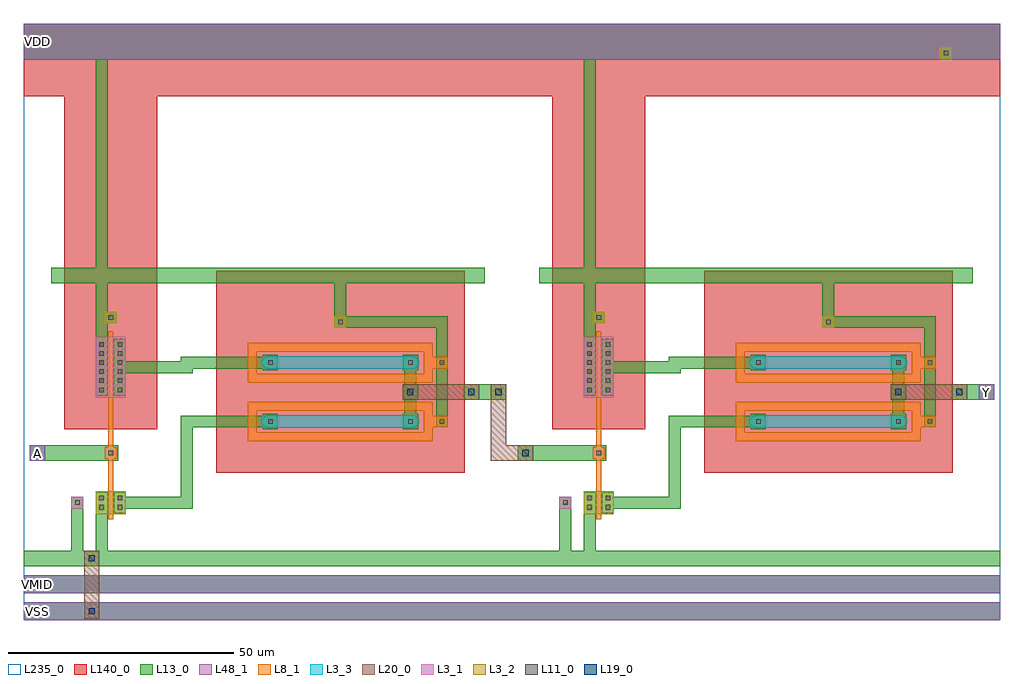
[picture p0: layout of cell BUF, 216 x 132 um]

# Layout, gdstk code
import gdstk
lib = gdstk.Library(unit=1e-6, precision=1e-09)
def R(c, l, rs):  # rectangles x0, y0, x1, y1
    for r in rs: c.add(gdstk.rectangle(r[:2], r[2:], *l))
def A(c, l, x, y, w, h, nx, ny, dx, dy):  # array of equal rectangles
    R(c, l, [(x+i*dx, y+j*dy, x+i*dx+w, y+j*dy+h) for i in range(nx) for j in range(ny)])
def P(c, l, *ps):  # polygons
    for p in ps: c.add(gdstk.Polygon(p, *l))
L3_1 = (3, 1)
L3_2 = (3, 2)
L3_3 = (3, 3)
L8_1 = (8, 1)
L11_0 = (11, 0)
L13_0 = (13, 0)
L19_0 = (19, 0)
L20_0 = (20, 0)
L48_1 = (48, 1)
L140_0 = (140, 0)
L235_0 = (235, 0)

fet_p__buf = lib.new_cell('fet_p__BUF')
R(fet_p__buf, L3_1, [(-3.3,-6.75,3.3,6.75)])
A(fet_p__buf, L11_0, -2.5, -5.5, 1, 1, 1, 6, 0, 2)
A(fet_p__buf, L11_0, 1.5, -5.5, 1, 1, 1, 6, 0, 2)
R(fet_p__buf, L13_0, [(-3.3,-6.3,-0.7,6.3), (0.7,-6.3,3.3,6.3)])
fet_p__buf.add(gdstk.FlexPath([(0,-7.95),(0,7.95)], 1, ends="flush", simple_path=True, layer=8, datatype=1))  # L8_1

fet_n__buf = lib.new_cell('fet_n__BUF')
R(fet_n__buf, L3_2, [(-3.3,-2.5,3.3,2.5)])
R(fet_n__buf, L11_0, [(-2.5,-1.5,-1.5,-0.5), (1.5,-1.5,2.5,-0.5), (-2.5,0.5,-1.5,1.5), (1.5,0.5,2.5,1.5)])
R(fet_n__buf, L13_0, [(-3.3,-2.3,-0.7,2.3), (0.7,-2.3,3.3,2.3)])
fet_n__buf.add(gdstk.FlexPath([(0,-3.7),(0,3.7)], 1, ends="flush", simple_path=True, layer=8, datatype=1))  # L8_1

res_diff__buf = lib.new_cell('res_diff__BUF')
P(res_diff__buf, L3_3, [(-16.5,-1.4),(-17.5,-0.4),(-17.5,0.4),(-16.5,1.4),(16.5,1.4),(17.5,0.4),(17.5,-0.4),(16.5,-1.4)])
P(res_diff__buf, L8_1, [(-20.5,-4.4),(-20.5,2.4),(-18.5,2.4),(-18.5,-2.4),(18.5,-2.4),(18.5,2.4),(-20.5,2.4),(-20.5,4.4),(20.5,4.4),(20.5,-4.4)])
R(res_diff__buf, L11_0, [(-16,-0.5,-15,0.5), (15,-0.5,16,0.5)])
R(res_diff__buf, L13_0, [(-17.2,-1.7,-13.8,1.7), (13.8,-1.7,17.2,1.7)])

cont_n__buf = lib.new_cell('cont_n__BUF')
R(cont_n__buf, L3_2, [(-1.3,-1.3,1.3,1.3)])
R(cont_n__buf, L11_0, [(-0.5,-0.5,0.5,0.5)])
R(cont_n__buf, L13_0, [(-1.3,-1.3,1.3,1.3)])

cont_p__buf = lib.new_cell('cont_p__BUF')
R(cont_p__buf, L3_1, [(-1.3,-1.3,1.3,1.3)])
R(cont_p__buf, L11_0, [(-0.5,-0.5,0.5,0.5)])
R(cont_p__buf, L13_0, [(-1.3,-1.3,1.3,1.3)])

cont_g__buf = lib.new_cell('cont_g__BUF')
R(cont_g__buf, L8_1, [(-1.3,-1.3,1.3,1.3)])
R(cont_g__buf, L11_0, [(-0.5,-0.5,0.5,0.5)])
R(cont_g__buf, L13_0, [(-1.3,-1.3,1.3,1.3)])

via_1__buf = lib.new_cell('via_1__BUF')
R(via_1__buf, L13_0, [(-1.7,-1.7,1.7,1.7)])
R(via_1__buf, L19_0, [(-0.7,-0.7,0.7,0.7)])
R(via_1__buf, L20_0, [(-1.7,-1.7,1.7,1.7)])

buf = lib.new_cell('BUF')
R(buf, L8_1, [(18.7,25.5,19.7,56.5), (126.7,25.5,127.7,56.5), (89.2,42.7,93.8,45.3), (197.2,42.7,201.8,45.3), (89.2,55.7,93.8,58.3), (197.2,55.7,201.8,58.3)])
R(buf, L13_0, [(0,0,216,4), (0,6,216,10), (0,12,216,15.4), (6,12,102,15.4), (114,12,210,15.4), (10.5,12.4,13.1,27.3), (15.9,12.4,18.5,27.3), (118.5,12.4,121.1,27.3), (123.9,12.4,126.5,27.3), (19.9,24.7,37.3,27.3), (34.7,24.7,37.3,45.3), (127.9,24.7,145.3,27.3), (142.7,24.7,145.3,45.3), (1.3,35.3,20.9,38.7), (1.3,35.3,4.7,38.7), (109.3,35.3,128.9,38.7), (6,35.7,19.2,38.3), (114,35.7,127.2,38.3), (34.7,42.7,55.8,45.3), (84.2,42.7,86.8,58.3), (91.2,42.7,93.8,67.3), (142.7,42.7,163.8,45.3), (192.2,42.7,194.8,58.3), (199.2,42.7,201.8,67.3), (97.3,48.8,106.7,52.2), (205.3,48.8,214.7,52.2), (211.3,48.8,214.7,52.2), (15.9,54.7,18.5,77.6), (19.9,54.7,37.3,57.3), (34.7,54.7,37.3,58.3), (123.9,54.7,126.5,77.6), (127.9,54.7,145.3,57.3), (142.7,54.7,145.3,58.3), (34.7,55.7,55.8,58.3), (142.7,55.7,163.8,58.3), (68.7,64.7,71.3,77.6), (68.7,64.7,93.8,67.3), (176.7,64.7,179.3,77.6), (176.7,64.7,201.8,67.3), (15.9,65.7,20.5,68.3), (123.9,65.7,128.5,68.3), (6,74.6,102,78), (114,74.6,210,78), (15.9,75,18.5,129.3), (123.9,75,126.5,129.3), (0,124,216,132), (202.7,124.2,205.3,129.3)])
R(buf, L20_0, [(13.3,0.3,16.7,15.4), (103.3,35.3,106.7,52.2), (103.3,35.3,112.7,38.7), (85.5,48.8,100.7,52.2), (193.5,48.8,208.7,52.2)])
R(buf, L48_1, [(0,0,216,4), (0,6,216,10), (1.3,35.3,4.7,38.7), (211.3,48.8,214.7,52.2), (0,124,216,132)])
R(buf, L140_0, [(42.5,32.6,97.5,77.3), (150.5,32.6,205.5,77.3), (8.9,42.25,29.5,73.3), (8.9,42.25,29.5,132), (116.9,42.25,137.5,73.3), (116.9,42.25,137.5,132), (0,116,216,132)])
R(buf, L235_0, [(0,0,216,132)])
buf.add(gdstk.Reference(fet_p__buf, (19.2,56)))
buf.add(gdstk.Reference(fet_n__buf, (19.2,26)))
buf.add(gdstk.Reference(res_diff__buf, (70,57)))
buf.add(gdstk.Reference(res_diff__buf, (70,44)))
buf.add(gdstk.Reference(cont_n__buf, (19.2,67)))
buf.add(gdstk.Reference(cont_n__buf, (70,66)))
buf.add(gdstk.Reference(cont_p__buf, (11.8,26)))
buf.add(gdstk.Reference(cont_g__buf, (92.5,44)))
buf.add(gdstk.Reference(cont_g__buf, (92.5,57)))
buf.add(gdstk.Reference(cont_g__buf, (19.2,37)))
buf.add(gdstk.Reference(via_1__buf, (85.5,50.5)))
buf.add(gdstk.Reference(via_1__buf, (99,50.5)))
buf.add(gdstk.Reference(fet_p__buf, (127.2,56)))
buf.add(gdstk.Reference(fet_n__buf, (127.2,26)))
buf.add(gdstk.Reference(res_diff__buf, (178,57)))
buf.add(gdstk.Reference(res_diff__buf, (178,44)))
buf.add(gdstk.Reference(cont_n__buf, (127.2,67)))
buf.add(gdstk.Reference(cont_n__buf, (178,66)))
buf.add(gdstk.Reference(cont_p__buf, (119.8,26)))
buf.add(gdstk.Reference(cont_g__buf, (200.5,44)))
buf.add(gdstk.Reference(cont_g__buf, (200.5,57)))
buf.add(gdstk.Reference(cont_g__buf, (127.2,37)))
buf.add(gdstk.Reference(via_1__buf, (193.5,50.5)))
buf.add(gdstk.Reference(via_1__buf, (207,50.5)))
buf.add(gdstk.Reference(via_1__buf, (105,50.5)))
buf.add(gdstk.Reference(via_1__buf, (111,37)))
buf.add(gdstk.Reference(cont_n__buf, (204,125.5)))
buf.add(gdstk.Reference(via_1__buf, (15,13.7)))
buf.add(gdstk.Reference(via_1__buf, (15,2)))
buf.add(gdstk.Label('A', (3,37), layer=48, texttype=0))
buf.add(gdstk.Label('Y', (213,50.5), layer=48, texttype=0))
buf.add(gdstk.Label('VDD', (3,128), layer=48, texttype=0))
buf.add(gdstk.Label('VMID', (3,8), layer=48, texttype=0))
buf.add(gdstk.Label('VSS', (3,2), layer=48, texttype=0))

lib.write_gds('BUF.gds')
